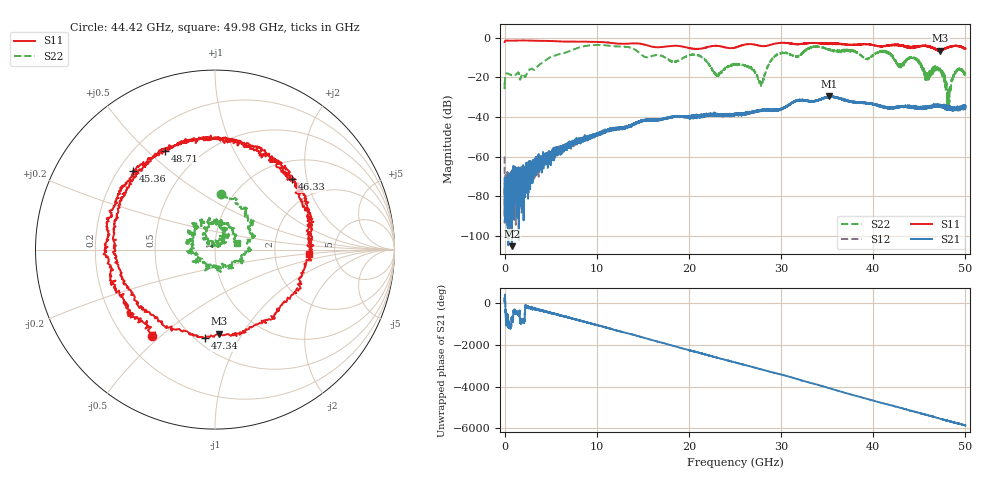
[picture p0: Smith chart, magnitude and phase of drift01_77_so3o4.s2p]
!Created with skrf (http://scikit-rf.org).
# Hz S RI R 50.0
!freq ReS11 ImS11 ReS21 ImS21 ReS12 ImS12 ReS22 ImS22
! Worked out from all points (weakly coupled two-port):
!   10001 points, 300 kHz to 50 GHz, reference 50 ohm
!   highest |S21| = -29.45 dB at 35.23 GHz (marker M1); lowest = -105.2 dB at 785.3 MHz (marker M2)
!   lowest |S11| = -6.6 dB at 47.28 GHz (marker M3), VSWR 2.77, Z = 33.3 - j40 ohm
!   |S11| at or under -10 dB: nowhere
!   |S22| runs from -36.4 to -3.6 dB; largest |S21 - S12| = 0.0039
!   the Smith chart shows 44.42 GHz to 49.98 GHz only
!   S11 on the Smith chart (normalised r, x): 44.42 GHz: 0.31, -0.47; 45.36 GHz: 0.26, +0.38; 46.33 GHz: 1.38, +1.65; 47.34 GHz: 0.56, -0.73; 48.71 GHz: 0.32, +0.57; 49.98 GHz: 3.20, -0.24
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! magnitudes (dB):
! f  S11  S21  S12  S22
! 300 kHz  -2.1  -73.7  -60.0  -22.5
! 260.3 MHz  -1.4  -70.6  -75.3  -18.0
! 785.3 MHz  -1.5  -105.2  -79.5  -18.9
! 8.335 GHz  -1.9  -51.7  -51.2  -4.5
! 16.67 GHz  -4.8  -41.6  -41.5  -8.7
! 20.98 GHz  -5.6  -39.8  -39.7  -8.8
! 23.1 GHz  -4.1  -39.1  -39.0  -18.6
! 25 GHz  -5.0  -38.9  -39.1  -13.6
! 27.87 GHz  -4.2  -36.4  -36.6  -22.8
! 29.42 GHz  -2.9  -36.4  -36.7  -9.1
! 33.34 GHz  -2.6  -32.0  -31.9  -4.8
! 35.23 GHz  -2.8  -29.4  -29.7  -6.2
! 41.67 GHz  -3.8  -35.4  -35.1  -8.0
! 44.42 GHz  -4.5  -34.6  -35.2  -10.1
! 45.36 GHz  -4.0  -36.1  -35.2  -16.2
! 46.33 GHz  -4.7  -34.6  -34.7  -17.0
! 47.28 GHz  -6.6  -34.4  -34.7  -16.4
! 47.34 GHz  -6.1  -34.4  -34.2  -17.0
! 48.2 GHz  -4.8  -35.0  -35.3  -30.9
! 48.71 GHz  -4.2  -35.2  -35.9  -19.2
! 49.98 GHz  -5.6  -34.6  -34.4  -18.0
! 50 GHz  -5.4  -34.6  -34.7  -18.1
